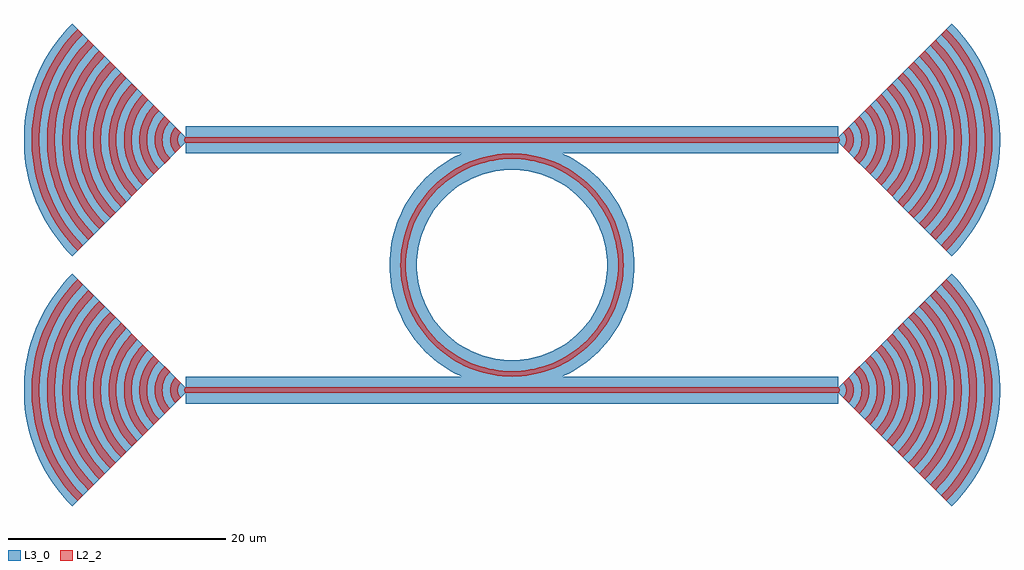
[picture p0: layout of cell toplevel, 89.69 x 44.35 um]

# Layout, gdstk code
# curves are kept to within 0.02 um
from math import pi, radians
import gdstk
lib = gdstk.Library(unit=1e-6, precision=1e-09)
def R(c, l, rs):  # rectangles x0, y0, x1, y1
    for r in rs: c.add(gdstk.rectangle(r[:2], r[2:], *l))
def P(c, l, *ps):  # polygons
    for p in ps: c.add(gdstk.Polygon(p, *l))
L2_2 = (2, 2)
L3_0 = (3, 0)

ring = lib.new_cell('ring')
P(ring, L3_0, [(8.75,0),(8.717,0.763),(8.617,1.519),(8.345,2.631),(7.93,3.698),(7.578,4.375),(7.168,5.019),(6.703,5.624),(6.187,6.187),(5.624,6.703),(5.019,7.168),(4.375,7.578),(3.698,7.93),(2.631,8.345),(1.519,8.617),(0.763,8.717),(0,8.75),(-0.763,8.717),(-1.519,8.617),(-2.631,8.345),(-3.698,7.93),(-4.375,7.578),(-5.019,7.168),(-5.624,6.703),(-6.187,6.187),(-6.942,5.327),(-7.578,4.375),(-8.084,3.348),(-8.452,2.265),(-8.617,1.519),(-8.717,0.763),(-8.742,-0.382),(-8.617,-1.519),(-8.345,-2.631),(-8.084,-3.348),(-7.578,-4.375),(-6.942,-5.327),(-6.187,-6.187),(-5.327,-6.942),(-4.375,-7.578),(-3.348,-8.084),(-2.631,-8.345),(-1.894,-8.543),(-0.763,-8.717),(0,-8.75),(0.763,-8.717),(1.894,-8.543),(2.631,-8.345),(3.348,-8.084),(4.375,-7.578),(5.327,-6.942),(6.187,-6.187),(6.942,-5.327),(7.578,-4.375),(8.084,-3.348),(8.452,-2.265),(8.675,-1.142),(8.75,0),(11.25,0),(11.207,-0.981),(11.079,-1.954),(10.867,-2.912),(10.572,-3.848),(10.394,-4.305),(9.979,-5.195),(9.488,-6.045),(8.925,-6.849),(8.618,-7.231),(7.955,-7.955),(7.231,-8.618),(6.849,-8.925),(6.045,-9.488),(5.195,-9.979),(4.305,-10.394),(3.848,-10.572),(2.912,-10.867),(1.954,-11.079),(0.981,-11.207),(0,-11.25),(-0.981,-11.207),(-1.954,-11.079),(-2.912,-10.867),(-3.848,-10.572),(-4.305,-10.394),(-5.195,-9.979),(-6.045,-9.488),(-6.849,-8.925),(-7.231,-8.618),(-7.955,-7.955),(-8.618,-7.231),(-8.925,-6.849),(-9.488,-6.045),(-9.979,-5.195),(-10.394,-4.305),(-10.572,-3.848),(-10.867,-2.912),(-11.079,-1.954),(-11.207,-0.981),(-11.25,0),(-11.207,0.981),(-11.079,1.954),(-10.867,2.912),(-10.572,3.848),(-10.394,4.305),(-9.979,5.195),(-9.488,6.045),(-8.925,6.849),(-8.618,7.231),(-7.955,7.955),(-7.231,8.618),(-6.849,8.925),(-6.045,9.488),(-5.195,9.979),(-4.305,10.394),(-3.848,10.572),(-2.912,10.867),(-1.954,11.079),(-0.981,11.207),(0,11.25),(0.981,11.207),(1.468,11.154),(1.954,11.079),(2.912,10.867),(3.848,10.572),(4.305,10.394),(5.195,9.979),(6.045,9.488),(6.849,8.925),(7.231,8.618),(7.955,7.955),(8.618,7.231),(8.925,6.849),(9.488,6.045),(9.979,5.195),(10.394,4.305),(10.572,3.848),(10.867,2.912),(11.079,1.954),(11.207,0.981),(11.25,0)])

unnamed = lib.new_cell('Unnamed')
R(unnamed, L2_2, [(-10,11.25,10,11.75)])
R(unnamed, L3_0, [(-10,10.25,10,12.75)])

unnamed002 = lib.new_cell('Unnamed002')
R(unnamed002, L2_2, [(-10,-11.75,10,-11.25)])
R(unnamed002, L3_0, [(-10,-12.75,10,-10.25)])

ring_resonator = lib.new_cell('ring resonator')
P(ring_resonator, L2_2, [(9.75,0),(9.667,1.273),(9.519,2.11),(9.299,2.932),(8.837,4.121),(8.223,5.239),(7.469,6.267),(6.894,6.894),(6.267,7.469),(5.592,7.987),(4.875,8.444),(3.731,9.008),(2.523,9.418),(1.693,9.602),(0.85,9.713),(-0.425,9.741),(-1.273,9.667),(-2.11,9.519),(-3.335,9.162),(-4.121,8.837),(-4.875,8.444),(-5.592,7.987),(-6.267,7.469),(-7.188,6.587),(-7.987,5.592),(-8.444,4.875),(-9.008,3.731),(-9.418,2.523),(-9.667,1.273),(-9.75,0),(-9.667,-1.273),(-9.418,-2.523),(-9.008,-3.731),(-8.444,-4.875),(-7.987,-5.592),(-7.188,-6.587),(-6.267,-7.469),(-5.239,-8.223),(-4.121,-8.837),(-3.335,-9.162),(-2.523,-9.418),(-1.273,-9.667),(0,-9.75),(1.273,-9.667),(2.523,-9.418),(3.731,-9.008),(4.875,-8.444),(5.592,-7.987),(6.267,-7.469),(7.188,-6.587),(7.987,-5.592),(8.444,-4.875),(9.008,-3.731),(9.418,-2.523),(9.667,-1.273),(9.75,0),(10.25,0),(10.211,-0.893),(10.007,-2.219),(9.776,-3.082),(9.47,-3.923),(9.092,-4.733),(8.645,-5.507),(7.852,-6.589),(7.248,-7.248),(6.589,-7.852),(5.507,-8.645),(4.733,-9.092),(3.923,-9.47),(3.082,-9.776),(2.219,-10.007),(0.893,-10.211),(0,-10.25),(-0.893,-10.211),(-2.219,-10.007),(-3.082,-9.776),(-3.923,-9.47),(-4.733,-9.092),(-5.507,-8.645),(-6.589,-7.852),(-7.248,-7.248),(-7.852,-6.589),(-8.645,-5.507),(-9.092,-4.733),(-9.47,-3.923),(-9.776,-3.082),(-10.007,-2.219),(-10.211,-0.893),(-10.25,0),(-10.211,0.893),(-10.007,2.219),(-9.776,3.082),(-9.47,3.923),(-9.092,4.733),(-8.645,5.507),(-7.852,6.589),(-7.248,7.248),(-6.589,7.852),(-5.507,8.645),(-4.733,9.092),(-3.923,9.47),(-3.082,9.776),(-2.219,10.007),(-0.893,10.211),(0,10.25),(0.893,10.211),(2.219,10.007),(3.082,9.776),(3.923,9.47),(5.125,8.877),(5.879,8.396),(6.589,7.852),(7.557,6.925),(8.132,6.24),(8.877,5.125),(9.47,3.923),(9.776,3.082),(10.007,2.219),(10.162,1.338),(10.25,0)])
ring_resonator.add(gdstk.Reference(ring, (0,0)))
ring_resonator.add(gdstk.Reference(unnamed, (0,0)))
ring_resonator.add(gdstk.Reference(unnamed002, (0,0)))

grating_coupler = lib.new_cell('grating coupler')
R(grating_coupler, L2_2, [(-0.25,-0.25,19.75,0.25)])
P(grating_coupler, L2_2, [(-0.677,-0.677),(-0.871,-0.396),(-0.957,-0.021),(-0.888,0.356),(-0.677,0.677),(-1.177,1.177),(-1.447,0.821),(-1.614,0.407),(-1.664,0.037),(-1.614,-0.407),(-1.447,-0.821),(-1.177,-1.177)],
  [(-1.677,-1.677),(-1.887,-1.437),(-2.113,-1.077),(-2.271,-0.682),(-2.356,-0.266),(-2.356,0.266),(-2.238,0.783),(-2.008,1.262),(-1.677,1.677),(-2.177,2.177),(-2.607,1.638),(-2.906,1.017),(-3.059,0.345),(-3.059,-0.345),(-2.948,-0.885),(-2.743,-1.398),(-2.449,-1.865),(-2.177,-2.177)],
  [(-2.677,-2.677),(-3.112,-2.156),(-3.447,-1.566),(-3.671,-0.925),(-3.777,-0.255),(-3.762,0.424),(-3.709,0.759),(-3.573,1.25),(-3.447,1.566),(-3.205,2.014),(-3.012,2.293),(-2.677,2.677),(-3.177,3.177),(-3.449,2.879),(-3.804,2.39),(-4.003,2.04),(-4.241,1.484),(-4.401,0.901),(-4.464,0.503),(-4.482,-0.302),(-4.401,-0.901),(-4.241,-1.484),(-4.003,-2.04),(-3.574,-2.722),(-3.177,-3.177)],
  [(-3.677,-3.677),(-3.992,-3.332),(-4.274,-2.961),(-4.522,-2.566),(-4.734,-2.15),(-4.908,-1.717),(-5.042,-1.271),(-5.136,-0.813),(-5.188,-0.35),(-5.188,0.35),(-5.136,0.813),(-5.042,1.271),(-4.826,1.936),(-4.633,2.361),(-4.403,2.766),(-3.992,3.332),(-3.677,3.677),(-4.177,4.177),(-4.7,3.578),(-5.001,3.143),(-5.263,2.682),(-5.482,2.199),(-5.728,1.443),(-5.834,0.924),(-5.905,0.133),(-5.893,-0.397),(-5.787,-1.185),(-5.575,-1.951),(-5.263,-2.682),(-4.855,-3.364),(-4.534,-3.786),(-4.177,-4.177)],
  [(-4.677,-4.677),(-5.077,-4.239),(-5.437,-3.767),(-5.752,-3.264),(-6.022,-2.735),(-6.243,-2.184),(-6.413,-1.616),(-6.533,-1.035),(-6.599,-0.445),(-6.599,0.445),(-6.533,1.035),(-6.335,1.902),(-6.139,2.462),(-5.893,3.003),(-5.437,3.767),(-5.077,4.239),(-4.677,4.677),(-5.177,5.177),(-5.825,4.435),(-6.199,3.895),(-6.523,3.324),(-6.795,2.726),(-7.012,2.106),(-7.231,1.145),(-7.319,0.164),(-7.304,-0.492),(-7.231,-1.145),(-7.012,-2.106),(-6.666,-3.028),(-6.199,-3.895),(-5.825,-4.435),(-5.177,-5.177)],
  [(-5.677,-5.677),(-6.163,-5.145),(-6.798,-4.271),(-7.153,-3.645),(-7.451,-2.989),(-7.689,-2.309),(-7.865,-1.61),(-7.978,-0.899),(-8.026,-0.18),(-7.978,0.899),(-7.865,1.61),(-7.689,2.309),(-7.451,2.989),(-7.153,3.645),(-6.798,4.271),(-6.163,5.145),(-5.677,5.677),(-6.177,6.177),(-6.706,5.598),(-7.18,4.975),(-7.783,3.966),(-8.107,3.252),(-8.366,2.512),(-8.558,1.752),(-8.68,0.978),(-8.733,-0.196),(-8.628,-1.366),(-8.471,-2.134),(-8.107,-3.252),(-7.597,-4.311),(-6.95,-5.292),(-6.177,-6.177)],
  [(-6.677,-6.677),(-7.513,-5.72),(-7.995,-5.024),(-8.413,-4.287),(-8.764,-3.515),(-9.043,-2.716),(-9.25,-1.894),(-9.383,-1.057),(-9.44,-0.212),(-9.421,0.635),(-9.326,1.477),(-9.156,2.307),(-8.764,3.515),(-8.413,4.287),(-7.995,5.024),(-7.513,5.72),(-6.677,6.677),(-7.177,7.177),(-7.791,6.505),(-8.343,5.78),(-8.594,5.4),(-9.043,4.608),(-9.42,3.779),(-9.721,2.919),(-9.842,2.48),(-10.025,1.588),(-10.127,0.683),(-10.147,-0.228),(-10.127,-0.683),(-10.025,-1.588),(-9.842,-2.48),(-9.721,-2.919),(-9.42,-3.779),(-9.043,-4.608),(-8.594,-5.4),(-8.343,-5.78),(-7.791,-6.505),(-7.177,-7.177)],
  [(-7.677,-7.677),(-8.334,-6.958),(-8.924,-6.183),(-9.442,-5.358),(-9.885,-4.49),(-10.247,-3.586),(-10.528,-2.653),(-10.723,-1.698),(-10.832,-0.73),(-10.854,-0.244),(-10.832,0.73),(-10.723,1.698),(-10.636,2.178),(-10.398,3.122),(-10.076,4.042),(-9.673,4.929),(-9.193,5.776),(-8.638,6.577),(-8.334,6.958),(-7.677,7.677),(-8.177,8.177),(-8.877,7.411),(-9.505,6.585),(-9.791,6.152),(-10.303,5.25),(-10.732,4.305),(-11.075,3.326),(-11.329,2.32),(-11.491,1.295),(-11.538,0.778),(-11.561,-0.259),(-11.491,-1.295),(-11.329,-2.32),(-11.213,-2.825),(-10.915,-3.819),(-10.732,-4.305),(-10.303,-5.25),(-9.791,-6.152),(-9.2,-7.005),(-8.877,-7.411),(-8.177,-8.177)],
  [(-8.677,-8.677),(-9.42,-7.864),(-10.087,-6.988),(-10.672,-6.056),(-10.933,-5.571),(-11.389,-4.568),(-11.752,-3.529),(-12.021,-2.461),(-12.194,-1.374),(-12.268,-0.275),(-12.243,0.825),(-12.12,1.92),(-11.899,2.998),(-11.582,4.053),(-11.172,5.075),(-10.672,6.056),(-10.39,6.528),(-9.763,7.434),(-9.42,7.864),(-8.677,8.677),(-9.177,9.177),(-9.579,8.756),(-10.326,7.862),(-10.989,6.905),(-11.563,5.892),(-12.045,4.832),(-12.43,3.732),(-12.714,2.603),(-12.818,2.03),(-12.949,0.873),(-12.975,-0.291),(-12.949,-0.873),(-12.818,-2.03),(-12.585,-3.171),(-12.25,-4.286),(-12.045,-4.832),(-11.563,-5.892),(-10.989,-6.905),(-10.326,-7.862),(-9.579,-8.756),(-9.177,-9.177)],
  [(-9.677,-9.677),(-10.505,-8.77),(-11.249,-7.793),(-11.902,-6.754),(-12.46,-5.66),(-12.917,-4.52),(-13.107,-3.936),(-13.407,-2.745),(-13.599,-1.532),(-13.682,-0.307),(-13.654,0.921),(-13.517,2.141),(-13.27,3.344),(-12.917,4.52),(-12.46,5.66),(-11.902,6.754),(-11.587,7.281),(-10.888,8.29),(-10.101,9.233),(-9.677,9.677),(-10.177,10.177),(-11.048,9.224),(-11.451,8.719),(-12.186,7.657),(-12.823,6.534),(-13.358,5.358),(-13.784,4.139),(-14.1,2.887),(-14.302,1.611),(-14.36,0.968),(-14.389,-0.323),(-14.302,-1.611),(-14.1,-2.887),(-13.956,-3.517),(-13.784,-4.139),(-13.358,-5.358),(-12.823,-6.534),(-12.186,-7.657),(-11.451,-8.719),(-11.048,-9.224),(-10.177,-10.177)],
  [(0,0),(-0.25,0.25),(-0.339,0.102),(-0.339,-0.102),(-0.25,-0.25)])
R(grating_coupler, L3_0, [(-0.25,-1.25,19.75,1.25)])
P(grating_coupler, L3_0, [(0,0),(-10.677,10.677),(-11.591,9.677),(-12.412,8.599),(-12.785,8.033),(-13.454,6.855),(-13.748,6.244),(-14.252,4.987),(-14.642,3.689),(-14.913,2.362),(-15.065,1.016),(-15.095,0.339),(-15.065,-1.016),(-14.913,-2.362),(-14.642,-3.689),(-14.252,-4.987),(-13.748,-6.244),(-13.454,-6.855),(-12.785,-8.033),(-12.412,-8.599),(-11.591,-9.677),(-10.677,-10.677)])

toplevel = lib.new_cell('toplevel')
toplevel.add(gdstk.Reference(ring_resonator, (0,0)))
toplevel.add(gdstk.Reference(grating_coupler, (-29.75,11.5)))
toplevel.add(gdstk.Reference(grating_coupler, (29.75,11.5), rotation=pi))
toplevel.add(gdstk.Reference(grating_coupler, (-29.75,-11.5)))
toplevel.add(gdstk.Reference(grating_coupler, (29.75,-11.5), rotation=pi))

lib.write_gds('toplevel.gds')
